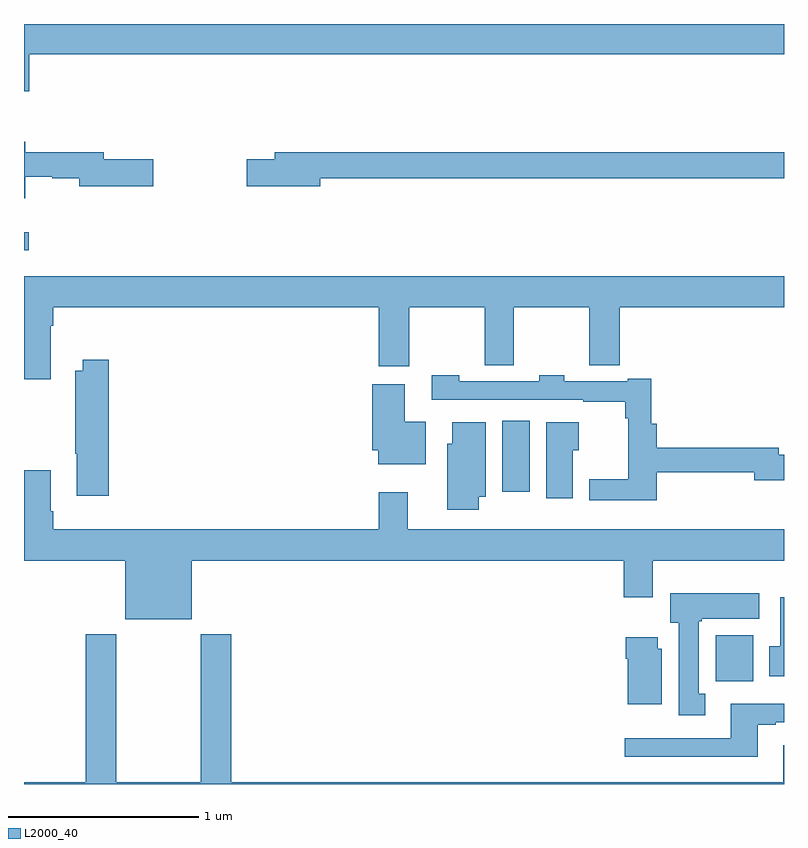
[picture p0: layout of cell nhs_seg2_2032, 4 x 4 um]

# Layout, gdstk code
import gdstk
lib = gdstk.Library(unit=1e-6, precision=1e-09)
def R(c, l, rs):  # rectangles x0, y0, x1, y1
    for r in rs: c.add(gdstk.rectangle(r[:2], r[2:], *l))
def P(c, l, *ps):  # polygons
    for p in ps: c.add(gdstk.Polygon(p, *l))
L2000_40 = (2000, 40)

nhs_seg2_2032 = lib.new_cell('nhs_seg2_2032')
R(nhs_seg2_2032, L2000_40, [(220.64,640.34,220.837,640.582), (219.518,641.337,219.661,641.713), (217,642.608,217.024,642.705)])
P(nhs_seg2_2032, L2000_40, [(217.028,643.64),(221,643.64),(221,643.8),(217,643.8),(217,643.446),(217.028,643.446)],
  [(217.006,642.996),(217.149,642.996),(217.149,642.988),(217.292,642.988),(217.292,642.946),(217.681,642.946),(217.681,643.088),(217.42,643.088),(217.42,643.124),(217.006,643.124),(217.006,643.18),(217,643.18),(217,642.884),(217.006,642.884)],
  [(218.56,642.988),(221,642.988),(221,643.124),(218.321,643.124),(218.321,643.088),(218.172,643.088),(218.172,642.946),(218.56,642.946)],
  [(217.141,642.212),(217.154,642.212),(217.154,642.308),(218.867,642.308),(218.867,642),(219.027,642),(219.027,642.308),(219.424,642.308),(219.424,642.004),(219.578,642.004),(219.578,642.308),(219.976,642.308),(219.976,642.004),(220.136,642.004),(220.136,642.308),(221,642.308),(221,642.472),(217,642.472),(217,642.308),(217.001,642.308),(217.001,641.931),(217.141,641.931)],
  [(217.445,642.034),(217.31,642.034),(217.31,641.974),(217.27,641.974),(217.27,641.539),(217.277,641.539),(217.277,641.316),(217.445,641.316)],
  [(220.331,641.442),(220.844,641.442),(220.844,641.399),(221,641.399),(221,641.534),(220.972,641.534),(220.972,641.57),(220.331,641.57),(220.331,641.695),(220.301,641.695),(220.301,641.932),(220.178,641.932),(220.178,641.919),(219.843,641.919),(219.843,641.952),(219.711,641.952),(219.711,641.919),(219.291,641.919),(219.291,641.952),(219.147,641.952),(219.147,641.823),(219.943,641.823),(219.943,641.811),(220.165,641.811),(220.165,641.726),(220.18,641.726),(220.18,641.404),(219.975,641.404),(219.975,641.294),(220.331,641.294)],
  [(219.115,641.707),(219.004,641.707),(219.004,641.905),(218.834,641.905),(218.834,641.556),(218.864,641.556),(218.864,641.483),(219.115,641.483)],
  [(219.889,641.557),(219.919,641.557),(219.919,641.704),(219.749,641.704),(219.749,641.304),(219.889,641.304)],
  [(219.393,641.312),(219.43,641.312),(219.43,641.704),(219.254,641.704),(219.254,641.592),(219.227,641.592),(219.227,641.244),(219.393,641.244)],
  [(217.882,640.976),(220.157,640.976),(220.157,640.782),(220.309,640.782),(220.309,640.976),(221,640.976),(221,641.14),(219.019,641.14),(219.019,641.335),(218.867,641.335),(218.867,641.14),(217.154,641.14),(217.154,641.236),(217.141,641.236),(217.141,641.452),(217.001,641.452),(217.001,641.339),(217,641.339),(217,640.976),(217.532,640.976),(217.532,640.667),(217.882,640.667)],
  [(220.585,640.274),(220.552,640.274),(220.552,640.657),(220.566,640.657),(220.566,640.67),(220.87,640.67),(220.87,640.804),(220.4,640.804),(220.4,640.65),(220.445,640.65),(220.445,640.161),(220.585,640.161)],
  [(221,640.783),(220.979,640.783),(220.979,640.524),(220.922,640.524),(220.922,640.368),(221,640.368)],
  [(221,640.003),(220.997,640.003),(220.997,639.808),(218.09,639.808),(218.09,640.588),(217.93,640.588),(217.93,639.808),(217.485,639.808),(217.485,640.588),(217.325,640.588),(217.325,639.808),(217,639.808),(217,639.8),(221,639.8)],
  [(220.357,640.512),(220.336,640.512),(220.336,640.573),(220.166,640.573),(220.166,640.46),(220.178,640.46),(220.178,640.22),(220.357,640.22)],
  [(220.861,640.113),(220.957,640.113),(220.957,640.125),(221,640.125),(221,640.222),(220.721,640.222),(220.721,640.041),(220.161,640.041),(220.161,639.944),(220.861,639.944)])

lib.write_gds('nhs_seg2_2032.gds')
